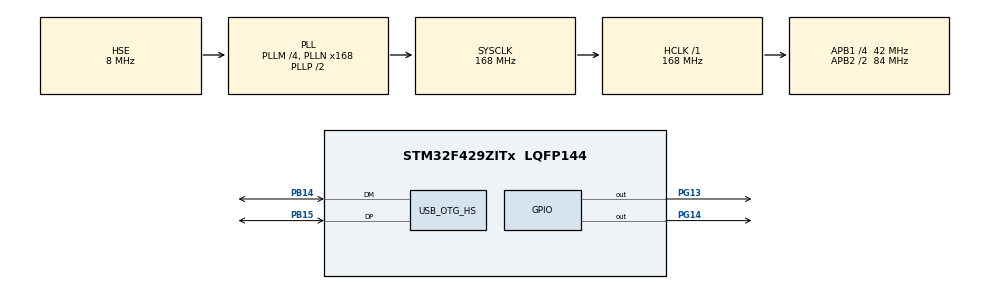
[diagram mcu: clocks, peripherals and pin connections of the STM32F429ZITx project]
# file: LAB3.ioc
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Mcu.Family=STM32F4
Mcu.Name=STM32F429ZITx
Mcu.Package=LQFP144
NVIC.OTG_HS_IRQn=true\:0\:0\:false\:false\:true\:true\:true\:true
NVIC.PriorityGroup=NVIC_PRIORITYGROUP_4
PA13.Mode=Serial_Wire
PA13.Signal=SYS_JTMS-SWDIO
PA14.Mode=Serial_Wire
PA14.Signal=SYS_JTCK-SWCLK
PB14.Mode=Device_Only_FS
PB14.Signal=USB_OTG_HS_DM
PB15.Mode=Device_Only_FS
PB15.Signal=USB_OTG_HS_DP
PG13.Signal=GPIO_Output
PG14.Signal=GPIO_Output
PH0/OSC_IN.Mode=HSE-External-Oscillator
PH0/OSC_IN.Signal=RCC_OSC_IN
PH1/OSC_OUT.Mode=HSE-External-Oscillator
PH1/OSC_OUT.Signal=RCC_OSC_OUT
ProjectManager.HeapSize=0x2000
ProjectManager.StackSize=0x400
ProjectManager.TargetToolchain=STM32CubeIDE
RCC.48MHZClocksFreq_Value=48000000
RCC.AHBFreq_Value=168000000
RCC.APB1CLKDivider=RCC_HCLK_DIV4
RCC.APB1Freq_Value=42000000
RCC.APB1TimFreq_Value=84000000
RCC.APB2CLKDivider=RCC_HCLK_DIV2
RCC.APB2Freq_Value=84000000
RCC.APB2TimFreq_Value=168000000
RCC.CortexFreq_Value=168000000
RCC.HCLKFreq_Value=168000000
RCC.HSE_VALUE=8000000
RCC.HSI_VALUE=16000000
RCC.LSE_VALUE=32768
RCC.PLLM=4
RCC.PLLN=168
RCC.PLLQ=7
RCC.SYSCLKFreq_VALUE=168000000
RCC.SYSCLKSource=RCC_SYSCLKSOURCE_PLLCLK
RCC.VCOOutputFreq_Value=336000000
USB_DEVICE.CLASS_NAME_HS=CDC
USB_DEVICE.VirtualMode-CDC_HS=Cdc
USB_DEVICE.VirtualModeHS=Cdc_HS
USB_OTG_HS.VirtualMode-Device_Only_FS=Device_Only_FS
VP_USB_DEVICE_VS_USB_DEVICE_CDC_HS.Mode=CDC_HS
board=custom

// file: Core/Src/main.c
/* USER CODE BEGIN Header */
/**
  ******************************************************************************
  * @file           : main.c
  * @brief          : Main program body
  ******************************************************************************
  * @attention
  *
  * Copyright (c) 2023 STMicroelectronics.
  * All rights reserved.
  *
  * This software is licensed under terms that can be found in the LICENSE file
  * in the root directory of this software component.
  * If no LICENSE file comes with this software, it is provided AS-IS.
  *
  ******************************************************************************
  */
/* USER CODE END Header */
#include "main.h"

/* USER CODE BEGIN Includes */
#include "usb_device.h"
#include "usbd_cdc_if.h"
#include "usbd_desc.h"
#include "stm32f429i_discovery_sdram.h"
#include "stm32f429i_discovery_lcd.h"
/* USER CODE END Includes */

/* USER CODE BEGIN PV */
 // uint8_t RxBuffer[50];
 // uint32_t RxLength = 49;
  uint8_t buffer[50];
  uint32_t dataInBuffer = 0;
  uint8_t TxBuffer[50] = "Do you want to turn on light?\n\r";
  //USBD_CDC_ItfTypeDef usb;
/* USER CODE END PV */

void SystemClock_Config(void);
static void MX_GPIO_Init(void);

int main(void)
{

  /* MCU Configuration--------------------------------------------------------*/

  /* Reset of all peripherals, Initializes the Flash interface and the Systick. */
  HAL_Init();

  /* Configure the system clock */
  SystemClock_Config();

  /* Initialize all configured peripherals */
  MX_GPIO_Init();
  MX_USB_DEVICE_Init();
  /* USER CODE BEGIN 2 */
  BSP_SDRAM_Init();
  BSP_LCD_Init();
  BSP_LCD_LayerDefaultInit(1, SDRAM_DEVICE_ADDR);
  BSP_LCD_SelectLayer(1);
  BSP_LCD_DisplayOn();
  BSP_LCD_Clear(LCD_COLOR_BLUE);
  BSP_LCD_SetBackColor(LCD_COLOR_BLUE);
  BSP_LCD_SetTextColor(LCD_COLOR_WHITE);

  BSP_LCD_DisplayStringAtLine(2, "Good evening!");
  /* USER CODE END 2 */

  /* Infinite loop */
  /* USER CODE BEGIN WHILE */

  while (1)
  {
	  if (strcmp((char *)buffer, "Hello STM") == 0)
	  {
		  //sprintf((char *)TxBuffer, "Do you want to turn on light?");
		  CDC_Transmit_HS(TxBuffer, strlen((char *)TxBuffer));
		  sprintf((char *)buffer, "");
	  }
	  if (strcmp((char *)buffer, "Turn on LED 3") == 0) {
		  HAL_GPIO_WritePin(GPIOG, GPIO_PIN_13, GPIO_PIN_SET);
	  }
	  if (strcmp((char *)buffer, "Turn on LED 4") == 0) {
		  HAL_GPIO_WritePin(GPIOG, GPIO_PIN_14, GPIO_PIN_SET);
	  }
	  if (strcmp((char *)buffer, "Turn off LED 3") == 0) {
		  HAL_GPIO_WritePin(GPIOG, GPIO_PIN_13, GPIO_PIN_RESET);
	  }
	  if (strcmp((char *)buffer, "Turn off LED 4") == 0) {
		  HAL_GPIO_WritePin(GPIOG, GPIO_PIN_14, GPIO_PIN_RESET);
	  }
	  if (strcmp((char *)buffer, "Good night") == 0) {
		  HAL_GPIO_WritePin(GPIOG, GPIO_PIN_14, GPIO_PIN_RESET);
		  HAL_GPIO_WritePin(GPIOG, GPIO_PIN_13, GPIO_PIN_RESET);
	  }
	  //sprintf((char *)buffer, "");
    /* USER CODE END WHILE */

  }
}

void SystemClock_Config(void)
{
  RCC_OscInitTypeDef RCC_OscInitStruct = {0};
  RCC_ClkInitTypeDef RCC_ClkInitStruct = {0};

  /** Configure the main internal regulator output voltage
  */
  __HAL_RCC_PWR_CLK_ENABLE();
  __HAL_PWR_VOLTAGESCALING_CONFIG(PWR_REGULATOR_VOLTAGE_SCALE1);

  /** Initializes the RCC Oscillators according to the specified parameters
  * in the RCC_OscInitTypeDef structure.
  */
  RCC_OscInitStruct.OscillatorType = RCC_OSCILLATORTYPE_HSE;
  RCC_OscInitStruct.HSEState = RCC_HSE_ON;
  RCC_OscInitStruct.PLL.PLLState = RCC_PLL_ON;
  RCC_OscInitStruct.PLL.PLLSource = RCC_PLLSOURCE_HSE;
  RCC_OscInitStruct.PLL.PLLM = 4;
  RCC_OscInitStruct.PLL.PLLN = 168;
  RCC_OscInitStruct.PLL.PLLP = RCC_PLLP_DIV2;
  RCC_OscInitStruct.PLL.PLLQ = 7;
  if (HAL_RCC_OscConfig(&RCC_OscInitStruct) != HAL_OK)
  {
    Error_Handler();
  }

  /** Initializes the CPU, AHB and APB buses clocks
  */
  RCC_ClkInitStruct.ClockType = RCC_CLOCKTYPE_HCLK|RCC_CLOCKTYPE_SYSCLK
                              |RCC_CLOCKTYPE_PCLK1|RCC_CLOCKTYPE_PCLK2;
  RCC_ClkInitStruct.SYSCLKSource = RCC_SYSCLKSOURCE_PLLCLK;
  RCC_ClkInitStruct.AHBCLKDivider = RCC_SYSCLK_DIV1;
  RCC_ClkInitStruct.APB1CLKDivider = RCC_HCLK_DIV4;
  RCC_ClkInitStruct.APB2CLKDivider = RCC_HCLK_DIV2;

  if (HAL_RCC_ClockConfig(&RCC_ClkInitStruct, FLASH_LATENCY_5) != HAL_OK)
  {
    Error_Handler();
  }
}

static void MX_GPIO_Init(void)
{
  GPIO_InitTypeDef GPIO_InitStruct = {0};

  /* GPIO Ports Clock Enable */
  __HAL_RCC_GPIOH_CLK_ENABLE();
  __HAL_RCC_GPIOB_CLK_ENABLE();
  __HAL_RCC_GPIOA_CLK_ENABLE();
  __HAL_RCC_GPIOG_CLK_ENABLE();

  /*Configure GPIO pin Output Level */
  HAL_GPIO_WritePin(GPIOG, GPIO_PIN_13|GPIO_PIN_14, GPIO_PIN_RESET);

  /*Configure GPIO pins : PG13 PG14 */
  GPIO_InitStruct.Pin = GPIO_PIN_13|GPIO_PIN_14;
  GPIO_InitStruct.Mode = GPIO_MODE_OUTPUT_PP;
  GPIO_InitStruct.Pull = GPIO_NOPULL;
  GPIO_InitStruct.Speed = GPIO_SPEED_FREQ_LOW;
  HAL_GPIO_Init(GPIOG, &GPIO_InitStruct);

}

void Error_Handler(void)
{
  __disable_irq();
  while (1)
  {
  }
}
